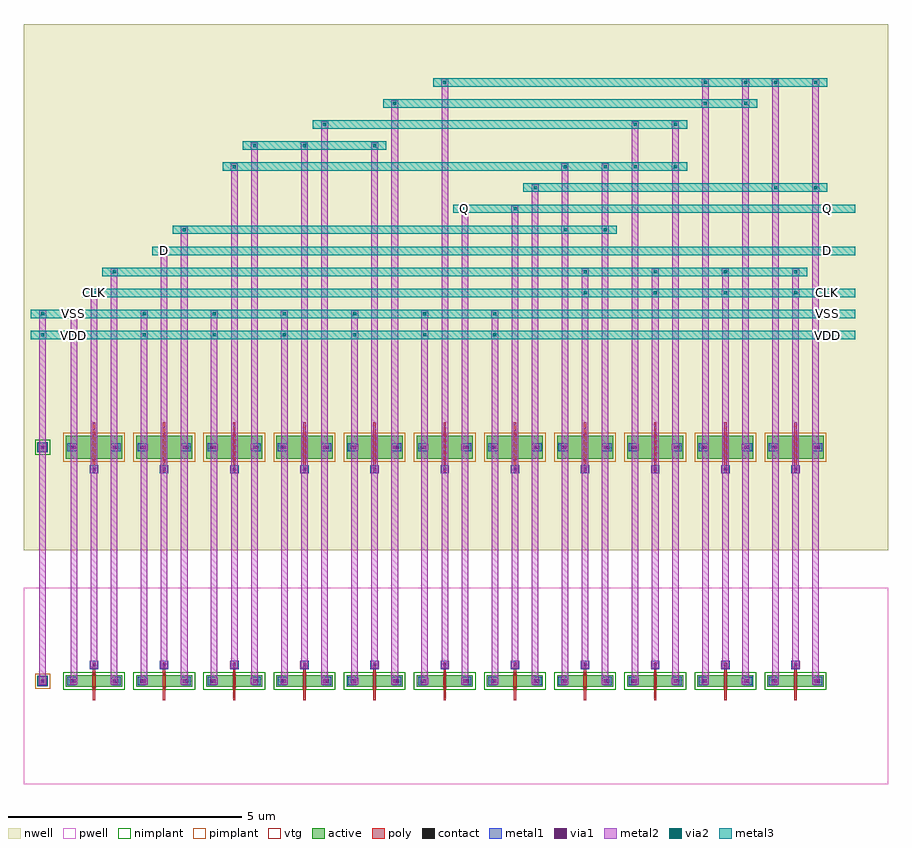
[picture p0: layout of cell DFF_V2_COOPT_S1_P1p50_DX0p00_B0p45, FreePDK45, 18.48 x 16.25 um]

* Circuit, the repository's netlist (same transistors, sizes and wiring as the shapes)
* cell DFF_V2_COOPT_S1_P1p50_DX0p00_B0p45
* pin CLK
* pin D
* pin Q
* pin VDD,VSS
.SUBCKT DFF_V2_COOPT_S1_P1p50_DX0p00_B0p45 3 4 6 7
* net 3 CLK
* net 4 D
* net 6 Q
* net 7 VDD,VSS
* device instance $1 r0 *1 16.2,7 PMOS_VTG
M$1 2 3 2 7 PMOS_VTG L=0.05U W=1U AS=0.575P AD=0.575P PS=4.3U PD=4.3U
* device instance $3 r0 *1 13.2,7 PMOS_VTG
M$3 1 3 1 7 PMOS_VTG L=0.05U W=1U AS=0.575P AD=0.575P PS=4.3U PD=4.3U
* device instance $5 r0 *1 10.2,7 PMOS_VTG
M$5 2 6 7 7 PMOS_VTG L=0.05U W=0.5U AS=0.2875P AD=0.2875P PS=2.15U PD=2.15U
* device instance $6 r0 *1 2.7,7 PMOS_VTG
M$6 1 4 7 7 PMOS_VTG L=0.05U W=0.5U AS=0.2875P AD=0.2875P PS=2.15U PD=2.15U
* device instance $7 r0 *1 1.2,7 PMOS_VTG
M$7 3 3 7 7 PMOS_VTG L=0.05U W=0.5U AS=0.2875P AD=0.2875P PS=2.15U PD=2.15U
* device instance $8 r0 *1 8.7,7 PMOS_VTG
M$8 6 2 7 7 PMOS_VTG L=0.05U W=0.5U AS=0.2875P AD=0.2875P PS=2.15U PD=2.15U
* device instance $9 r0 *1 4.2,7 PMOS_VTG
M$9 5 1 7 7 PMOS_VTG L=0.05U W=0.5U AS=0.2875P AD=0.2875P PS=2.15U PD=2.15U
* device instance $10 r0 *1 7.2,7 PMOS_VTG
M$10 2 5 7 7 PMOS_VTG L=0.05U W=0.5U AS=0.2875P AD=0.2875P PS=2.15U PD=2.15U
* device instance $11 r0 *1 5.7,7 PMOS_VTG
M$11 1 5 7 7 PMOS_VTG L=0.05U W=0.5U AS=0.2875P AD=0.2875P PS=2.15U PD=2.15U
* device instance $12 r0 *1 16.2,2 NMOS_VTG
M$12 2 3 2 7 NMOS_VTG L=0.05U W=0.5U AS=0.2875P AD=0.2875P PS=3.3U PD=3.3U
* device instance $14 r0 *1 13.2,2 NMOS_VTG
M$14 1 3 1 7 NMOS_VTG L=0.05U W=0.5U AS=0.2875P AD=0.2875P PS=3.3U PD=3.3U
* device instance $16 r0 *1 10.2,2 NMOS_VTG
M$16 2 6 7 7 NMOS_VTG L=0.05U W=0.25U AS=0.14375P AD=0.14375P PS=1.65U PD=1.65U
* device instance $17 r0 *1 1.2,2 NMOS_VTG
M$17 3 3 7 7 NMOS_VTG L=0.05U W=0.25U AS=0.14375P AD=0.14375P PS=1.65U PD=1.65U
* device instance $18 r0 *1 2.7,2 NMOS_VTG
M$18 1 4 7 7 NMOS_VTG L=0.05U W=0.25U AS=0.14375P AD=0.14375P PS=1.65U PD=1.65U
* device instance $19 r0 *1 4.2,2 NMOS_VTG
M$19 5 1 7 7 NMOS_VTG L=0.05U W=0.25U AS=0.14375P AD=0.14375P PS=1.65U PD=1.65U
* device instance $20 r0 *1 8.7,2 NMOS_VTG
M$20 6 2 7 7 NMOS_VTG L=0.05U W=0.25U AS=0.14375P AD=0.14375P PS=1.65U PD=1.65U
* device instance $21 r0 *1 5.7,2 NMOS_VTG
M$21 1 5 7 7 NMOS_VTG L=0.05U W=0.25U AS=0.14375P AD=0.14375P PS=1.65U PD=1.65U
* device instance $22 r0 *1 7.2,2 NMOS_VTG
M$22 2 5 7 7 NMOS_VTG L=0.05U W=0.25U AS=0.14375P AD=0.14375P PS=1.65U PD=1.65U
.ENDS DFF_V2_COOPT_S1_P1p50_DX0p00_B0p45

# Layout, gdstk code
import gdstk
lib = gdstk.Library(unit=1e-6, precision=5e-10)
def R(c, l, rs):  # rectangles x0, y0, x1, y1
    for r in rs: c.add(gdstk.rectangle(r[:2], r[2:], *l))
def A(c, l, x, y, w, h, nx, ny, dx, dy):  # array of equal rectangles
    R(c, l, [(x+i*dx, y+j*dy, x+i*dx+w, y+j*dy+h) for i in range(nx) for j in range(ny)])
active = (1, 0)
pwell = (2, 0)
nwell = (3, 0)
nimplant = (4, 0)
pimplant = (5, 0)
vtg = (6, 0)
poly = (9, 0)
contact = (10, 0)
metal1 = (11, 0)
via1 = (12, 0)
metal2 = (13, 0)
via2 = (14, 0)
metal3 = (15, 0)

dff_v2_coopt_s1_p1p50_dx = lib.new_cell('DFF_V2_COOPT_S1_P1p50_DX0p00_B0p45')
A(dff_v2_coopt_s1_p1p50_dx, active, 0.6, 1.875, 1.2, 0.25, 11, 1, 1.5, 0)
A(dff_v2_coopt_s1_p1p50_dx, active, 0.6, 6.75, 1.2, 0.5, 11, 1, 1.5, 0)
R(dff_v2_coopt_s1_p1p50_dx, active, [(-0.01,1.89,0.21,2.11), (-0.01,6.89,0.21,7.11)])
R(dff_v2_coopt_s1_p1p50_dx, pwell, [(-0.3,-0.2,18.18,4)])
R(dff_v2_coopt_s1_p1p50_dx, nwell, [(-0.3,4.8,18.18,16.05)])
A(dff_v2_coopt_s1_p1p50_dx, nimplant, 0.54, 1.815, 1.32, 0.37, 11, 1, 1.5, 0)
R(dff_v2_coopt_s1_p1p50_dx, nimplant, [(-0.06,6.84,0.26,7.16)])
A(dff_v2_coopt_s1_p1p50_dx, pimplant, 0.54, 6.69, 1.32, 0.62, 11, 1, 1.5, 0)
R(dff_v2_coopt_s1_p1p50_dx, pimplant, [(-0.06,1.84,0.26,2.16)])
A(dff_v2_coopt_s1_p1p50_dx, vtg, 1.165, 1.845, 0.07, 0.31, 11, 1, 1.5, 0)
A(dff_v2_coopt_s1_p1p50_dx, vtg, 1.165, 6.72, 0.07, 0.56, 11, 1, 1.5, 0)
A(dff_v2_coopt_s1_p1p50_dx, poly, 1.175, 1.595, 0.05, 0.81, 11, 1, 1.5, 0)
A(dff_v2_coopt_s1_p1p50_dx, poly, 1.175, 6.47, 0.05, 1.06, 11, 1, 1.5, 0)
A(dff_v2_coopt_s1_p1p50_dx, contact, 1.17, 2.315, 0.065, 0.065, 11, 2, 1.5, 4.185)
R(dff_v2_coopt_s1_p1p50_dx, contact, [(0.07,1.97,0.135,2.035), (0.69,1.97,0.755,2.035), (1.65,1.97,1.715,2.035), (2.19,1.97,2.255,2.035), (3.15,1.97,3.215,2.035), (3.69,1.97,3.755,2.035), (4.65,1.97,4.715,2.035), (5.19,1.97,5.255,2.035), (6.15,1.97,6.215,2.035), (6.69,1.97,6.755,2.035), (7.65,1.97,7.715,2.035), (8.19,1.97,8.255,2.035), (9.15,1.97,9.215,2.035), (9.69,1.97,9.755,2.035), (10.65,1.97,10.715,2.035), (11.19,1.97,11.255,2.035), (12.15,1.97,12.215,2.035), (12.69,1.97,12.755,2.035), (13.65,1.97,13.715,2.035), (14.19,1.97,14.255,2.035), (15.15,1.97,15.215,2.035), (15.69,1.97,15.755,2.035), (16.65,1.97,16.715,2.035), (0.07,6.97,0.135,7.035), (0.69,6.97,0.755,7.035), (1.65,6.97,1.715,7.035), (2.19,6.97,2.255,7.035), (3.15,6.97,3.215,7.035), (3.69,6.97,3.755,7.035), (4.65,6.97,4.715,7.035), (5.19,6.97,5.255,7.035), (6.15,6.97,6.215,7.035), (6.69,6.97,6.755,7.035), (7.65,6.97,7.715,7.035), (8.19,6.97,8.255,7.035), (9.15,6.97,9.215,7.035), (9.69,6.97,9.755,7.035), (10.65,6.97,10.715,7.035), (11.19,6.97,11.255,7.035), (12.15,6.97,12.215,7.035), (12.69,6.97,12.755,7.035), (13.65,6.97,13.715,7.035), (14.19,6.97,14.255,7.035), (15.15,6.97,15.215,7.035), (15.69,6.97,15.755,7.035), (16.65,6.97,16.715,7.035)])
A(dff_v2_coopt_s1_p1p50_dx, metal1, 1.11, 2.255, 0.18, 0.18, 11, 2, 1.5, 4.185)
A(dff_v2_coopt_s1_p1p50_dx, metal1, 1.125, 2.27, 0.15, 0.15, 11, 2, 1.5, 4.185)
R(dff_v2_coopt_s1_p1p50_dx, metal1, [(0,1.9,0.2,2.1), (0.63,1.91,0.81,2.09), (1.59,1.91,1.77,2.09), (2.13,1.91,2.31,2.09), (3.09,1.91,3.27,2.09), (3.63,1.91,3.81,2.09), (4.59,1.91,4.77,2.09), (5.13,1.91,5.31,2.09), (6.09,1.91,6.27,2.09), (6.63,1.91,6.81,2.09), (7.59,1.91,7.77,2.09), (8.13,1.91,8.31,2.09), (9.09,1.91,9.27,2.09), (9.63,1.91,9.81,2.09), (10.59,1.91,10.77,2.09), (11.13,1.91,11.31,2.09), (12.09,1.91,12.27,2.09), (12.63,1.91,12.81,2.09), (13.59,1.91,13.77,2.09), (14.13,1.91,14.31,2.09), (15.09,1.91,15.27,2.09), (15.63,1.91,15.81,2.09), (16.59,1.91,16.77,2.09), (0.025,1.925,0.175,2.075), (0.025,1.925,0.175,2.075), (0.025,1.925,0.175,2.075), (0.025,1.925,0.175,2.075), (0.025,1.925,0.175,2.075), (0.025,1.925,0.175,2.075), (0.025,1.925,0.175,2.075), (0.025,1.925,0.175,2.075), (0.025,1.925,0.175,2.075), (0.025,1.925,0.175,2.075), (0.025,1.925,0.175,2.075), (0.025,1.925,0.175,2.075), (0.695,1.925,0.845,2.075), (1.555,1.925,1.705,2.075), (2.195,1.925,2.345,2.075), (3.055,1.925,3.205,2.075), (3.695,1.925,3.845,2.075), (4.555,1.925,4.705,2.075), (5.195,1.925,5.345,2.075), (6.055,1.925,6.205,2.075), (6.695,1.925,6.845,2.075), (7.555,1.925,7.705,2.075), (8.195,1.925,8.345,2.075), (9.055,1.925,9.205,2.075), (9.695,1.925,9.845,2.075), (10.555,1.925,10.705,2.075), (11.195,1.925,11.345,2.075), (12.055,1.925,12.205,2.075), (12.695,1.925,12.845,2.075), (13.555,1.925,13.705,2.075), (14.195,1.925,14.345,2.075), (15.055,1.925,15.205,2.075), (15.695,1.925,15.845,2.075), (16.555,1.925,16.705,2.075), (0,6.9,0.2,7.1), (0.63,6.91,0.81,7.09), (1.59,6.91,1.77,7.09), (2.13,6.91,2.31,7.09), (3.09,6.91,3.27,7.09), (3.63,6.91,3.81,7.09), (4.59,6.91,4.77,7.09), (5.13,6.91,5.31,7.09), (6.09,6.91,6.27,7.09), (6.63,6.91,6.81,7.09), (7.59,6.91,7.77,7.09), (8.13,6.91,8.31,7.09), (9.09,6.91,9.27,7.09), (9.63,6.91,9.81,7.09), (10.59,6.91,10.77,7.09), (11.13,6.91,11.31,7.09), (12.09,6.91,12.27,7.09), (12.63,6.91,12.81,7.09), (13.59,6.91,13.77,7.09), (14.13,6.91,14.31,7.09), (15.09,6.91,15.27,7.09), (15.63,6.91,15.81,7.09), (16.59,6.91,16.77,7.09), (0.025,6.925,0.175,7.075), (0.025,6.925,0.175,7.075), (0.025,6.925,0.175,7.075), (0.025,6.925,0.175,7.075), (0.025,6.925,0.175,7.075), (0.025,6.925,0.175,7.075), (0.025,6.925,0.175,7.075), (0.025,6.925,0.175,7.075), (0.025,6.925,0.175,7.075), (0.025,6.925,0.175,7.075), (0.025,6.925,0.175,7.075), (0.025,6.925,0.175,7.075), (0.695,6.925,0.845,7.075), (1.555,6.925,1.705,7.075), (2.195,6.925,2.345,7.075), (3.055,6.925,3.205,7.075), (3.695,6.925,3.845,7.075), (4.555,6.925,4.705,7.075), (5.195,6.925,5.345,7.075), (6.055,6.925,6.205,7.075), (6.695,6.925,6.845,7.075), (7.555,6.925,7.705,7.075), (8.195,6.925,8.345,7.075), (9.055,6.925,9.205,7.075), (9.695,6.925,9.845,7.075), (10.555,6.925,10.705,7.075), (11.195,6.925,11.345,7.075), (12.055,6.925,12.205,7.075), (12.695,6.925,12.845,7.075), (13.555,6.925,13.705,7.075), (14.195,6.925,14.345,7.075), (15.055,6.925,15.205,7.075), (15.695,6.925,15.845,7.075), (16.555,6.925,16.705,7.075)])
A(dff_v2_coopt_s1_p1p50_dx, via1, 1.17, 2.315, 0.065, 0.065, 11, 2, 1.5, 4.185)
R(dff_v2_coopt_s1_p1p50_dx, via1, [(0.07,1.97,0.135,2.035), (0.07,1.97,0.135,2.035), (0.07,1.97,0.135,2.035), (0.07,1.97,0.135,2.035), (0.07,1.97,0.135,2.035), (0.07,1.97,0.135,2.035), (0.07,1.97,0.135,2.035), (0.07,1.97,0.135,2.035), (0.07,1.97,0.135,2.035), (0.07,1.97,0.135,2.035), (0.07,1.97,0.135,2.035), (0.07,1.97,0.135,2.035), (0.74,1.97,0.805,2.035), (1.6,1.97,1.665,2.035), (2.24,1.97,2.305,2.035), (3.1,1.97,3.165,2.035), (3.74,1.97,3.805,2.035), (4.6,1.97,4.665,2.035), (5.24,1.97,5.305,2.035), (6.1,1.97,6.165,2.035), (6.74,1.97,6.805,2.035), (7.6,1.97,7.665,2.035), (8.24,1.97,8.305,2.035), (9.1,1.97,9.165,2.035), (9.74,1.97,9.805,2.035), (10.6,1.97,10.665,2.035), (11.24,1.97,11.305,2.035), (12.1,1.97,12.165,2.035), (12.74,1.97,12.805,2.035), (13.6,1.97,13.665,2.035), (14.24,1.97,14.305,2.035), (15.1,1.97,15.165,2.035), (15.74,1.97,15.805,2.035), (16.6,1.97,16.665,2.035), (0.07,6.97,0.135,7.035), (0.07,6.97,0.135,7.035), (0.07,6.97,0.135,7.035), (0.07,6.97,0.135,7.035), (0.07,6.97,0.135,7.035), (0.07,6.97,0.135,7.035), (0.07,6.97,0.135,7.035), (0.07,6.97,0.135,7.035), (0.07,6.97,0.135,7.035), (0.07,6.97,0.135,7.035), (0.07,6.97,0.135,7.035), (0.07,6.97,0.135,7.035), (0.74,6.97,0.805,7.035), (1.6,6.97,1.665,7.035), (2.24,6.97,2.305,7.035), (3.1,6.97,3.165,7.035), (3.74,6.97,3.805,7.035), (4.6,6.97,4.665,7.035), (5.24,6.97,5.305,7.035), (6.1,6.97,6.165,7.035), (6.74,6.97,6.805,7.035), (7.6,6.97,7.665,7.035), (8.24,6.97,8.305,7.035), (9.1,6.97,9.165,7.035), (9.74,6.97,9.805,7.035), (10.6,6.97,10.665,7.035), (11.24,6.97,11.305,7.035), (12.1,6.97,12.165,7.035), (12.74,6.97,12.805,7.035), (13.6,6.97,13.665,7.035), (14.24,6.97,14.305,7.035), (15.1,6.97,15.165,7.035), (15.74,6.97,15.805,7.035), (16.6,6.97,16.665,7.035)])
A(dff_v2_coopt_s1_p1p50_dx, metal2, 0.7, 2, 0.14, 7.85, 7, 1, 1.5, 0)
A(dff_v2_coopt_s1_p1p50_dx, metal2, 1.125, 2.27, 0.15, 0.15, 11, 2, 1.5, 4.185)
A(dff_v2_coopt_s1_p1p50_dx, metal2, 0.7, 7, 0.14, 2.4, 7, 1, 1.5, 0)
A(dff_v2_coopt_s1_p1p50_dx, metal2, 0.695, 9.325, 0.15, 0.15, 7, 2, 1.5, 0.45)
A(dff_v2_coopt_s1_p1p50_dx, metal2, 11.625, 10.225, 0.15, 0.15, 4, 2, 1.5, 0.45)
R(dff_v2_coopt_s1_p1p50_dx, metal2, [(0.025,1.925,0.175,2.075), (0.025,1.925,0.175,2.075), (0.025,1.925,0.175,2.075), (0.025,1.925,0.175,2.075), (0.025,1.925,0.175,2.075), (0.025,1.925,0.175,2.075), (0.025,1.925,0.175,2.075), (0.025,1.925,0.175,2.075), (0.025,1.925,0.175,2.075), (0.025,1.925,0.175,2.075), (0.025,1.925,0.175,2.075), (0.025,1.925,0.175,2.075), (0.695,1.925,0.845,2.075), (1.555,1.925,1.705,2.075), (2.195,1.925,2.345,2.075), (3.055,1.925,3.205,2.075), (3.695,1.925,3.845,2.075), (4.555,1.925,4.705,2.075), (5.195,1.925,5.345,2.075), (6.055,1.925,6.205,2.075), (6.695,1.925,6.845,2.075), (7.555,1.925,7.705,2.075), (8.195,1.925,8.345,2.075), (9.055,1.925,9.205,2.075), (9.695,1.925,9.845,2.075), (10.555,1.925,10.705,2.075), (11.195,1.925,11.345,2.075), (12.055,1.925,12.205,2.075), (12.695,1.925,12.845,2.075), (13.555,1.925,13.705,2.075), (14.195,1.925,14.345,2.075), (15.055,1.925,15.205,2.075), (15.695,1.925,15.845,2.075), (16.555,1.925,16.705,2.075), (0.03,2,0.17,9.85), (0.03,2,0.17,9.85), (0.03,2,0.17,9.85), (0.03,2,0.17,9.85), (0.03,2,0.17,9.85), (0.03,2,0.17,9.85), (0.03,2,0.17,9.85), (0.03,2,0.17,9.85), (0.03,2,0.17,9.85), (0.03,2,0.17,9.85), (0.03,2,0.17,9.85), (0.03,2,0.17,9.85), (1.56,2,1.7,10.75), (3.06,2,3.2,11.65), (4.56,2,4.7,13.45), (6.06,2,6.2,13.9), (7.56,2,7.7,14.35), (9.06,2,9.2,12.1), (10.56,2,10.7,12.55), (11.2,2,11.34,13), (12.06,2,12.2,11.65), (12.7,2,12.84,13), (13.56,2,13.7,13.9), (14.2,2,14.34,14.8), (15.06,2,15.2,14.35), (15.7,2,15.84,14.8), (16.56,2,16.7,12.55), (1.13,2.345,1.27,10.3), (2.63,2.345,2.77,11.2), (4.13,2.345,4.27,13), (5.63,2.345,5.77,13.45), (7.13,2.345,7.27,13.45), (8.63,2.345,8.77,14.8), (10.13,2.345,10.27,12.1), (11.63,2.345,11.77,10.75), (13.13,2.345,13.27,10.3), (14.63,2.345,14.77,10.3), (16.13,2.345,16.27,10.75), (1.13,6.53,1.27,10.3), (2.63,6.53,2.77,11.2), (4.13,6.53,4.27,13), (5.63,6.53,5.77,13.45), (7.13,6.53,7.27,13.45), (8.63,6.53,8.77,14.8), (10.13,6.53,10.27,12.1), (11.63,6.53,11.77,10.3), (13.13,6.53,13.27,10.75), (14.63,6.53,14.77,10.75), (16.13,6.53,16.27,10.3), (0.025,6.925,0.175,7.075), (0.025,6.925,0.175,7.075), (0.025,6.925,0.175,7.075), (0.025,6.925,0.175,7.075), (0.025,6.925,0.175,7.075), (0.025,6.925,0.175,7.075), (0.025,6.925,0.175,7.075), (0.025,6.925,0.175,7.075), (0.025,6.925,0.175,7.075), (0.025,6.925,0.175,7.075), (0.025,6.925,0.175,7.075), (0.025,6.925,0.175,7.075), (0.695,6.925,0.845,7.075), (1.555,6.925,1.705,7.075), (2.195,6.925,2.345,7.075), (3.055,6.925,3.205,7.075), (3.695,6.925,3.845,7.075), (4.555,6.925,4.705,7.075), (5.195,6.925,5.345,7.075), (6.055,6.925,6.205,7.075), (6.695,6.925,6.845,7.075), (7.555,6.925,7.705,7.075), (8.195,6.925,8.345,7.075), (9.055,6.925,9.205,7.075), (9.695,6.925,9.845,7.075), (10.555,6.925,10.705,7.075), (11.195,6.925,11.345,7.075), (12.055,6.925,12.205,7.075), (12.695,6.925,12.845,7.075), (13.555,6.925,13.705,7.075), (14.195,6.925,14.345,7.075), (15.055,6.925,15.205,7.075), (15.695,6.925,15.845,7.075), (16.555,6.925,16.705,7.075), (0.03,7,0.17,9.4), (0.03,7,0.17,9.4), (0.03,7,0.17,9.4), (0.03,7,0.17,9.4), (0.03,7,0.17,9.4), (0.03,7,0.17,9.4), (0.03,7,0.17,9.4), (0.03,7,0.17,9.4), (0.03,7,0.17,9.4), (0.03,7,0.17,9.4), (0.03,7,0.17,9.4), (0.03,7,0.17,9.4), (1.56,7,1.7,10.75), (3.06,7,3.2,11.65), (4.56,7,4.7,13.45), (6.06,7,6.2,13.9), (7.56,7,7.7,14.35), (9.06,7,9.2,12.1), (10.56,7,10.7,12.55), (11.2,7,11.34,11.65), (12.06,7,12.2,13), (12.7,7,12.84,13.9), (13.56,7,13.7,13), (14.2,7,14.34,14.35), (15.06,7,15.2,14.8), (15.7,7,15.84,12.55), (16.56,7,16.7,14.8), (0.025,9.325,0.175,9.475), (0.025,9.325,0.175,9.475), (0.025,9.325,0.175,9.475), (0.025,9.325,0.175,9.475), (0.025,9.325,0.175,9.475), (0.025,9.325,0.175,9.475), (0.025,9.325,0.175,9.475), (0.025,9.325,0.175,9.475), (0.025,9.325,0.175,9.475), (0.025,9.325,0.175,9.475), (0.025,9.325,0.175,9.475), (0.025,9.325,0.175,9.475), (0.025,9.775,0.175,9.925), (0.025,9.775,0.175,9.925), (0.025,9.775,0.175,9.925), (0.025,9.775,0.175,9.925), (0.025,9.775,0.175,9.925), (0.025,9.775,0.175,9.925), (0.025,9.775,0.175,9.925), (0.025,9.775,0.175,9.925), (0.025,9.775,0.175,9.925), (0.025,9.775,0.175,9.925), (0.025,9.775,0.175,9.925), (0.025,9.775,0.175,9.925), (1.125,10.225,1.275,10.375), (1.125,10.225,1.275,10.375), (1.555,10.675,1.705,10.825), (1.555,10.675,1.705,10.825), (2.625,11.125,2.775,11.275), (2.625,11.125,2.775,11.275), (3.055,11.575,3.205,11.725), (3.055,11.575,3.205,11.725), (11.195,11.575,11.345,11.725), (12.055,11.575,12.205,11.725), (9.055,12.025,9.205,12.175), (9.055,12.025,9.205,12.175), (10.125,12.025,10.275,12.175), (10.125,12.025,10.275,12.175), (10.555,12.475,10.705,12.625), (10.555,12.475,10.705,12.625), (15.695,12.475,15.845,12.625), (16.555,12.475,16.705,12.625), (4.125,12.925,4.275,13.075), (4.125,12.925,4.275,13.075), (11.195,12.925,11.345,13.075), (12.055,12.925,12.205,13.075), (12.695,12.925,12.845,13.075), (13.555,12.925,13.705,13.075), (4.555,13.375,4.705,13.525), (4.555,13.375,4.705,13.525), (5.625,13.375,5.775,13.525), (5.625,13.375,5.775,13.525), (7.125,13.375,7.275,13.525), (7.125,13.375,7.275,13.525), (6.055,13.825,6.205,13.975), (6.055,13.825,6.205,13.975), (12.695,13.825,12.845,13.975), (13.555,13.825,13.705,13.975), (7.555,14.275,7.705,14.425), (7.555,14.275,7.705,14.425), (14.195,14.275,14.345,14.425), (15.055,14.275,15.205,14.425), (8.625,14.725,8.775,14.875), (8.625,14.725,8.775,14.875), (14.195,14.725,14.345,14.875), (15.055,14.725,15.205,14.875), (15.695,14.725,15.845,14.875), (16.555,14.725,16.705,14.875)])
A(dff_v2_coopt_s1_p1p50_dx, via2, 0.74, 9.37, 0.065, 0.065, 7, 2, 1.5, 0.45)
A(dff_v2_coopt_s1_p1p50_dx, via2, 11.67, 10.27, 0.065, 0.065, 4, 2, 1.5, 0.45)
R(dff_v2_coopt_s1_p1p50_dx, via2, [(0.07,9.37,0.135,9.435), (0.07,9.37,0.135,9.435), (0.07,9.37,0.135,9.435), (0.07,9.37,0.135,9.435), (0.07,9.37,0.135,9.435), (0.07,9.37,0.135,9.435), (0.07,9.37,0.135,9.435), (0.07,9.37,0.135,9.435), (0.07,9.37,0.135,9.435), (0.07,9.37,0.135,9.435), (0.07,9.37,0.135,9.435), (0.07,9.37,0.135,9.435), (0.07,9.82,0.135,9.885), (0.07,9.82,0.135,9.885), (0.07,9.82,0.135,9.885), (0.07,9.82,0.135,9.885), (0.07,9.82,0.135,9.885), (0.07,9.82,0.135,9.885), (0.07,9.82,0.135,9.885), (0.07,9.82,0.135,9.885), (0.07,9.82,0.135,9.885), (0.07,9.82,0.135,9.885), (0.07,9.82,0.135,9.885), (0.07,9.82,0.135,9.885), (1.17,10.27,1.235,10.335), (1.17,10.27,1.235,10.335), (1.6,10.72,1.665,10.785), (1.6,10.72,1.665,10.785), (2.67,11.17,2.735,11.235), (2.67,11.17,2.735,11.235), (3.1,11.62,3.165,11.685), (3.1,11.62,3.165,11.685), (11.24,11.62,11.305,11.685), (12.1,11.62,12.165,11.685), (9.1,12.07,9.165,12.135), (9.1,12.07,9.165,12.135), (10.17,12.07,10.235,12.135), (10.17,12.07,10.235,12.135), (10.6,12.52,10.665,12.585), (10.6,12.52,10.665,12.585), (15.74,12.52,15.805,12.585), (16.6,12.52,16.665,12.585), (4.17,12.97,4.235,13.035), (4.17,12.97,4.235,13.035), (11.24,12.97,11.305,13.035), (12.1,12.97,12.165,13.035), (12.74,12.97,12.805,13.035), (13.6,12.97,13.665,13.035), (4.6,13.42,4.665,13.485), (4.6,13.42,4.665,13.485), (5.67,13.42,5.735,13.485), (5.67,13.42,5.735,13.485), (7.17,13.42,7.235,13.485), (7.17,13.42,7.235,13.485), (6.1,13.87,6.165,13.935), (6.1,13.87,6.165,13.935), (12.74,13.87,12.805,13.935), (13.6,13.87,13.665,13.935), (7.6,14.32,7.665,14.385), (7.6,14.32,7.665,14.385), (14.24,14.32,14.305,14.385), (15.1,14.32,15.165,14.385), (8.67,14.77,8.735,14.835), (8.67,14.77,8.735,14.835), (14.24,14.77,14.305,14.835), (15.1,14.77,15.165,14.835), (15.74,14.77,15.805,14.835), (16.6,14.77,16.665,14.835)])
A(dff_v2_coopt_s1_p1p50_dx, metal3, 0.695, 9.325, 0.15, 0.15, 7, 2, 1.5, 0.45)
A(dff_v2_coopt_s1_p1p50_dx, metal3, 11.625, 10.225, 0.15, 0.15, 4, 2, 1.5, 0.45)
R(dff_v2_coopt_s1_p1p50_dx, metal3, [(-0.15,9.31,10.02,9.49), (10.02,9.31,17.48,9.49), (0.025,9.325,0.175,9.475), (0.025,9.325,0.175,9.475), (0.025,9.325,0.175,9.475), (0.025,9.325,0.175,9.475), (0.025,9.325,0.175,9.475), (0.025,9.325,0.175,9.475), (0.025,9.325,0.175,9.475), (0.025,9.325,0.175,9.475), (0.025,9.325,0.175,9.475), (0.025,9.325,0.175,9.475), (0.025,9.325,0.175,9.475), (0.025,9.325,0.175,9.475), (-0.15,9.76,10.02,9.94), (10.02,9.76,17.48,9.94), (0.025,9.775,0.175,9.925), (0.025,9.775,0.175,9.925), (0.025,9.775,0.175,9.925), (0.025,9.775,0.175,9.925), (0.025,9.775,0.175,9.925), (0.025,9.775,0.175,9.925), (0.025,9.775,0.175,9.925), (0.025,9.775,0.175,9.925), (0.025,9.775,0.175,9.925), (0.025,9.775,0.175,9.925), (0.025,9.775,0.175,9.925), (0.025,9.775,0.175,9.925), (0.95,10.21,16.45,10.39), (16.45,10.21,17.48,10.39), (1.125,10.225,1.275,10.375), (1.125,10.225,1.275,10.375), (1.38,10.66,16.45,10.84), (1.555,10.675,1.705,10.825), (1.555,10.675,1.705,10.825), (2.45,11.11,2.95,11.29), (2.95,11.11,17.48,11.29), (2.625,11.125,2.775,11.275), (2.625,11.125,2.775,11.275), (2.88,11.56,12.38,11.74), (3.055,11.575,3.205,11.725), (3.055,11.575,3.205,11.725), (11.195,11.575,11.345,11.725), (12.055,11.575,12.205,11.725), (8.88,12.01,10.45,12.19), (10.45,12.01,17.48,12.19), (9.055,12.025,9.205,12.175), (9.055,12.025,9.205,12.175), (10.125,12.025,10.275,12.175), (10.125,12.025,10.275,12.175), (10.38,12.46,16.88,12.64), (10.555,12.475,10.705,12.625), (10.555,12.475,10.705,12.625), (15.695,12.475,15.845,12.625), (16.555,12.475,16.705,12.625), (3.95,12.91,13.88,13.09), (4.125,12.925,4.275,13.075), (4.125,12.925,4.275,13.075), (11.195,12.925,11.345,13.075), (12.055,12.925,12.205,13.075), (12.695,12.925,12.845,13.075), (13.555,12.925,13.705,13.075), (4.38,13.36,7.45,13.54), (4.555,13.375,4.705,13.525), (4.555,13.375,4.705,13.525), (5.625,13.375,5.775,13.525), (5.625,13.375,5.775,13.525), (7.125,13.375,7.275,13.525), (7.125,13.375,7.275,13.525), (5.88,13.81,13.88,13.99), (6.055,13.825,6.205,13.975), (6.055,13.825,6.205,13.975), (12.695,13.825,12.845,13.975), (13.555,13.825,13.705,13.975), (7.38,14.26,15.38,14.44), (7.555,14.275,7.705,14.425), (7.555,14.275,7.705,14.425), (14.195,14.275,14.345,14.425), (15.055,14.275,15.205,14.425), (8.45,14.71,16.88,14.89), (8.625,14.725,8.775,14.875), (8.625,14.725,8.775,14.875), (14.195,14.725,14.345,14.875), (15.055,14.725,15.205,14.875), (15.695,14.725,15.845,14.875), (16.555,14.725,16.705,14.875)])
dff_v2_coopt_s1_p1p50_dx.add(gdstk.Label('VDD', (16.88,9.4), layer=15, texttype=0))
dff_v2_coopt_s1_p1p50_dx.add(gdstk.Label('VDD', (16.88,9.4), layer=15, texttype=1))
dff_v2_coopt_s1_p1p50_dx.add(gdstk.Label('VDD', (16.88,9.4), layer=15, texttype=2))
dff_v2_coopt_s1_p1p50_dx.add(gdstk.Label('VDD', (0.77,9.4), layer=13, texttype=0))
dff_v2_coopt_s1_p1p50_dx.add(gdstk.Label('VDD', (0.77,9.4), layer=13, texttype=1))
dff_v2_coopt_s1_p1p50_dx.add(gdstk.Label('VDD', (0.77,9.4), layer=13, texttype=2))
dff_v2_coopt_s1_p1p50_dx.add(gdstk.Label('VSS', (16.88,9.85), layer=15, texttype=0))
dff_v2_coopt_s1_p1p50_dx.add(gdstk.Label('VSS', (16.88,9.85), layer=15, texttype=1))
dff_v2_coopt_s1_p1p50_dx.add(gdstk.Label('VSS', (16.88,9.85), layer=15, texttype=2))
dff_v2_coopt_s1_p1p50_dx.add(gdstk.Label('VSS', (0.77,9.85), layer=13, texttype=0))
dff_v2_coopt_s1_p1p50_dx.add(gdstk.Label('VSS', (0.77,9.85), layer=13, texttype=1))
dff_v2_coopt_s1_p1p50_dx.add(gdstk.Label('VSS', (0.77,9.85), layer=13, texttype=2))
dff_v2_coopt_s1_p1p50_dx.add(gdstk.Label('D', (16.88,11.2), layer=15, texttype=0))
dff_v2_coopt_s1_p1p50_dx.add(gdstk.Label('D', (16.88,11.2), layer=15, texttype=1))
dff_v2_coopt_s1_p1p50_dx.add(gdstk.Label('D', (16.88,11.2), layer=15, texttype=2))
dff_v2_coopt_s1_p1p50_dx.add(gdstk.Label('D', (2.7,11.2), layer=13, texttype=0))
dff_v2_coopt_s1_p1p50_dx.add(gdstk.Label('D', (2.7,11.2), layer=13, texttype=1))
dff_v2_coopt_s1_p1p50_dx.add(gdstk.Label('D', (2.7,11.2), layer=13, texttype=2))
dff_v2_coopt_s1_p1p50_dx.add(gdstk.Label('Q', (16.88,12.1), layer=15, texttype=0))
dff_v2_coopt_s1_p1p50_dx.add(gdstk.Label('Q', (16.88,12.1), layer=15, texttype=1))
dff_v2_coopt_s1_p1p50_dx.add(gdstk.Label('Q', (16.88,12.1), layer=15, texttype=2))
dff_v2_coopt_s1_p1p50_dx.add(gdstk.Label('Q', (9.13,12.1), layer=13, texttype=0))
dff_v2_coopt_s1_p1p50_dx.add(gdstk.Label('Q', (9.13,12.1), layer=13, texttype=1))
dff_v2_coopt_s1_p1p50_dx.add(gdstk.Label('Q', (9.13,12.1), layer=13, texttype=2))
dff_v2_coopt_s1_p1p50_dx.add(gdstk.Label('CLK', (16.88,10.3), layer=15, texttype=0))
dff_v2_coopt_s1_p1p50_dx.add(gdstk.Label('CLK', (16.88,10.3), layer=15, texttype=1))
dff_v2_coopt_s1_p1p50_dx.add(gdstk.Label('CLK', (16.88,10.3), layer=15, texttype=2))
dff_v2_coopt_s1_p1p50_dx.add(gdstk.Label('CLK', (1.2,10.3), layer=13, texttype=0))
dff_v2_coopt_s1_p1p50_dx.add(gdstk.Label('CLK', (1.2,10.3), layer=13, texttype=1))
dff_v2_coopt_s1_p1p50_dx.add(gdstk.Label('CLK', (1.2,10.3), layer=13, texttype=2))

lib.write_gds('DFF_V2_COOPT_S1_P1p50_DX0p00_B0p45.gds')
